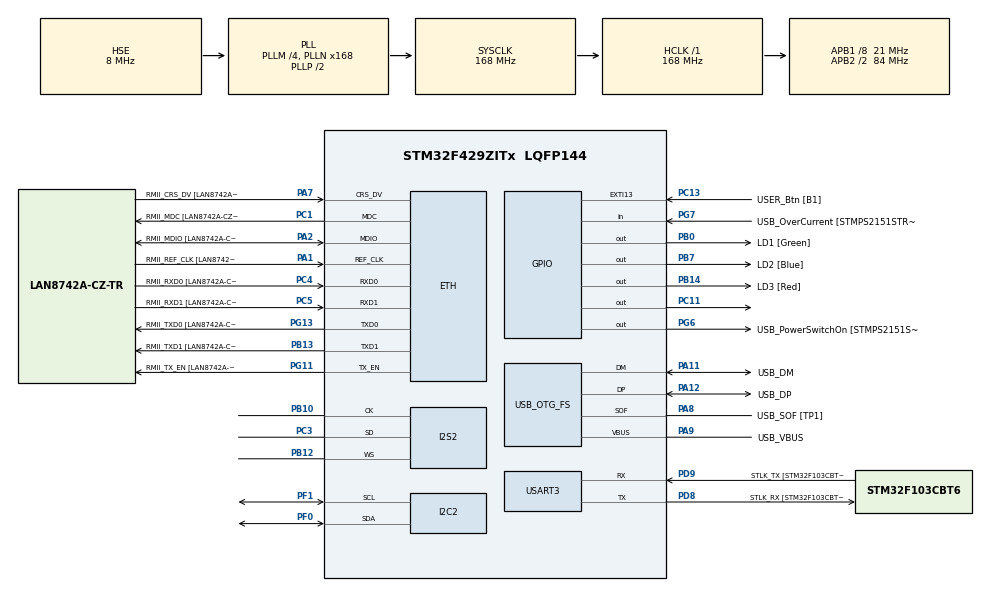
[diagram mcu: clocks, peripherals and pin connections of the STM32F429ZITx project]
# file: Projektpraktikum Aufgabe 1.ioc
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Dma.Request0=SPI2_RX
Dma.SPI2_RX.0.Direction=DMA_PERIPH_TO_MEMORY
Dma.SPI2_RX.0.FIFOMode=DMA_FIFOMODE_DISABLE
Dma.SPI2_RX.0.Instance=DMA1_Stream3
Dma.SPI2_RX.0.MemDataAlignment=DMA_MDATAALIGN_HALFWORD
Dma.SPI2_RX.0.MemInc=DMA_MINC_ENABLE
Dma.SPI2_RX.0.Mode=DMA_CIRCULAR
Dma.SPI2_RX.0.PeriphDataAlignment=DMA_PDATAALIGN_HALFWORD
Dma.SPI2_RX.0.PeriphInc=DMA_PINC_DISABLE
Dma.SPI2_RX.0.Priority=DMA_PRIORITY_HIGH
ETH.MediaInterface=HAL_ETH_RMII_MODE
ETH.PHY_Name=LAN8742A_PHY_ADDRESS
ETH.PHY_Value=0
ETH.PhyAddress=0
I2S2.AudioFreq=I2S_AUDIOFREQ_16K
I2S2.DataFormat=I2S_DATAFORMAT_24B
I2S2.ErrorAudioFreq=-0.35 %
I2S2.FullDuplexMode=I2S_FULLDUPLEXMODE_DISABLE
I2S2.Instance=SPI$Index
I2S2.Mode=I2S_MODE_MASTER_RX
I2S2.RealAudioFreq=15.943 KHz
I2S2.VirtualMode=I2S_MODE_MASTER
Mcu.Family=STM32F4
Mcu.Name=STM32F429ZITx
Mcu.Package=LQFP144
NVIC.DMA1_Stream3_IRQn=true\:0\:0\:false\:false\:true\:false\:true\:true
NVIC.PriorityGroup=NVIC_PRIORITYGROUP_4
PA1.GPIO_Label=RMII_REF_CLK [LAN8742A-CZ-TR_REFCLK0]
PA1.Mode=RMII
PA1.Signal=ETH_REF_CLK
PA10.GPIO_Label=USB_ID
PA10.Signal=USB_OTG_FS_ID
PA11.GPIO_Label=USB_DM
PA11.Mode=Device_Only
PA11.Signal=USB_OTG_FS_DM
PA12.GPIO_Label=USB_DP
PA12.Mode=Device_Only
PA12.Signal=USB_OTG_FS_DP
PA13.GPIO_Label=TMS
PA13.Mode=Serial_Wire
PA13.Signal=SYS_JTMS-SWDIO
PA14.GPIO_Label=TCK
PA14.Mode=Serial_Wire
PA14.Signal=SYS_JTCK-SWCLK
PA2.GPIO_Label=RMII_MDIO [LAN8742A-CZ-TR_MDIO]
PA2.Mode=RMII
PA2.Signal=ETH_MDIO
PA7.GPIO_Label=RMII_CRS_DV [LAN8742A-CZ-TR_CRS_DV]
PA7.Mode=RMII
PA7.Signal=ETH_CRS_DV
PA8.GPIO_Label=USB_SOF [TP1]
PA8.Mode=Activate_SOF_FS
PA8.Signal=USB_OTG_FS_SOF
PA9.GPIO_Label=USB_VBUS
PA9.Mode=Activate_VBUS
PA9.Signal=USB_OTG_FS_VBUS
PB0.GPIO_Label=LD1 [Green]
PB0.Signal=GPIO_Output
PB10.Mode=Half_Duplex_Master
PB10.Signal=I2S2_CK
PB12.Mode=Half_Duplex_Master
PB12.Signal=I2S2_WS
PB13.GPIO_Label=RMII_TXD1 [LAN8742A-CZ-TR_TXD1]
PB13.Mode=RMII
PB13.Signal=ETH_TXD1
PB14.GPIO_Label=LD3 [Red]
PB14.Signal=GPIO_Output
PB7.GPIO_Label=LD2 [Blue]
PB7.Signal=GPIO_Output
PC1.GPIO_Label=RMII_MDC [LAN8742A-CZ-TR_MDC]
PC1.Mode=RMII
PC1.Signal=ETH_MDC
PC11.Signal=GPIO_Output
PC13.GPIO_Label=USER_Btn [B1]
PC13.Signal=GPXTI13
PC14/OSC32_IN.Mode=LSE-External-Oscillator
PC14/OSC32_IN.Signal=RCC_OSC32_IN
PC15/OSC32_OUT.Mode=LSE-External-Oscillator
PC15/OSC32_OUT.Signal=RCC_OSC32_OUT
PC3.Mode=Half_Duplex_Master
PC3.Signal=I2S2_SD
PC4.GPIO_Label=RMII_RXD0 [LAN8742A-CZ-TR_RXD0]
PC4.Mode=RMII
PC4.Signal=ETH_RXD0
PC5.GPIO_Label=RMII_RXD1 [LAN8742A-CZ-TR_RXD1]
PC5.Mode=RMII
PC5.Signal=ETH_RXD1
PD8.GPIO_Label=STLK_RX [STM32F103CBT6_PA3]
PD8.Mode=Asynchronous
PD8.Signal=USART3_TX
PD9.GPIO_Label=STLK_TX [STM32F103CBT6_PA2]
PD9.Mode=Asynchronous
PD9.Signal=USART3_RX
PF0.Mode=I2C
PF0.Signal=I2C2_SDA
PF1.Mode=I2C
PF1.Signal=I2C2_SCL
PG11.GPIO_Label=RMII_TX_EN [LAN8742A-CZ-TR_TXEN]
PG11.Mode=RMII
PG11.Signal=ETH_TX_EN
PG13.GPIO_Label=RMII_TXD0 [LAN8742A-CZ-TR_TXD0]
PG13.Mode=RMII
PG13.Signal=ETH_TXD0
PG6.GPIO_Label=USB_PowerSwitchOn [STMPS2151STR_EN]
PG6.Signal=GPIO_Output
PG7.GPIO_Label=USB_OverCurrent [STMPS2151STR_FAULT]
PG7.Signal=GPIO_Input
PH0/OSC_IN.GPIO_Label=MCO [STM32F103CBT6_PA8]
PH0/OSC_IN.Mode=HSE-External-Clock-Source
PH0/OSC_IN.Signal=RCC_OSC_IN
PH1/OSC_OUT.Mode=HSE-External-Clock-Source
PH1/OSC_OUT.Signal=RCC_OSC_OUT
ProjectManager.HeapSize=0x800
ProjectManager.StackSize=0x800
ProjectManager.TargetToolchain=STM32CubeIDE
RCC.48MHZClocksFreq_Value=48000000
RCC.AHBFreq_Value=168000000
RCC.APB1CLKDivider=RCC_HCLK_DIV8
RCC.APB1Freq_Value=21000000
RCC.APB1TimFreq_Value=42000000
RCC.APB2CLKDivider=RCC_HCLK_DIV2
RCC.APB2Freq_Value=84000000
RCC.APB2TimFreq_Value=168000000
RCC.CortexFreq_Value=168000000
RCC.HCLKFreq_Value=168000000
RCC.HSE_VALUE=8000000
RCC.HSI_VALUE=16000000
RCC.PLLI2SN=50
RCC.PLLM=4
RCC.PLLMUL=RCC_PLL_MUL9
RCC.PLLN=168
RCC.PLLQ=7
RCC.PRESCALERUSB=RCC_USBCLKSOURCE_PLL_DIV1_5
RCC.SYSCLKFreq_VALUE=168000000
RCC.SYSCLKSource=RCC_SYSCLKSOURCE_PLLCLK
RCC.SYSCLKSourceVirtual=RCC_SYSCLKSOURCE_PLLCLK
RCC.USBFreq_Value=48000000
RCC.VCOOutputFreq_Value=336000000
STMicroelectronics.X-CUBE-AI.8.1.0.ActivationBufferSizeList=24988
STMicroelectronics.X-CUBE-AI.8.1.0.ActivationBuffers=pool0
STMicroelectronics.X-CUBE-AI.8.1.0.ActivationNames=pool0
STMicroelectronics.X-CUBE-AI.8.1.0.ActivationSizes=AI_NETWORK_DATA_ACTIVATION_1_SIZE
STMicroelectronics.X-CUBE-AI.8.1.0.HeapSize=0x800
STMicroelectronics.X-CUBE-AI.8.1.0.InternalRamActivationBufferMaxSize=AI_NETWORK_DATA_ACTIVATIONS_SIZE
STMicroelectronics.X-CUBE-AI.8.1.0.LatestDirectoryUsed-aed7329be207645f23a032d3b21966ea48b668a3339ffedc6012d5aefd8bd7ce=C\:\\Users\\ASUS\\Downloads
STMicroelectronics.X-CUBE-AI.8.1.0.MaximumNumberOfInputLayer=1
STMicroelectronics.X-CUBE-AI.8.1.0.MaximumNumberOfOutputLayer=1
STMicroelectronics.X-CUBE-AI.8.1.0.MaximumSizeOfInputLayer=1
STMicroelectronics.X-CUBE-AI.8.1.0.MaximumSizeOfOutputLayer=1
STMicroelectronics.X-CUBE-AI.8.1.0.ModelActualCompression-aed7329be207645f23a032d3b21966ea48b668a3339ffedc6012d5aefd8bd7ce=0.0
STMicroelectronics.X-CUBE-AI.8.1.0.ModelCompression-aed7329be207645f23a032d3b21966ea48b668a3339ffedc6012d5aefd8bd7ce=None
STMicroelectronics.X-CUBE-AI.8.1.0.ModelFlashOccupation-aed7329be207645f23a032d3b21966ea48b668a3339ffedc6012d5aefd8bd7ce=38460
STMicroelectronics.X-CUBE-AI.8.1.0.ModelHashList=aed7329be207645f23a032d3b21966ea48b668a3339ffedc6012d5aefd8bd7ce
STMicroelectronics.X-CUBE-AI.8.1.0.ModelKind-aed7329be207645f23a032d3b21966ea48b668a3339ffedc6012d5aefd8bd7ce=TFLITE
STMicroelectronics.X-CUBE-AI.8.1.0.ModelMacc-aed7329be207645f23a032d3b21966ea48b668a3339ffedc6012d5aefd8bd7ce=251990
STMicroelectronics.X-CUBE-AI.8.1.0.ModelName-aed7329be207645f23a032d3b21966ea48b668a3339ffedc6012d5aefd8bd7ce=network
STMicroelectronics.X-CUBE-AI.8.1.0.ModelNameList=network
STMicroelectronics.X-CUBE-AI.8.1.0.ModelRamOccupation-aed7329be207645f23a032d3b21966ea48b668a3339ffedc6012d5aefd8bd7ce=24988
STMicroelectronics.X-CUBE-AI.8.1.0.ModelStructureFile-aed7329be207645f23a032d3b21966ea48b668a3339ffedc6012d5aefd8bd7ce=C\:\\Users\\ASUS\\Downloads\\kws_model (1) (1).tflite
STMicroelectronics.X-CUBE-AI.8.1.0.ModelType-aed7329be207645f23a032d3b21966ea48b668a3339ffedc6012d5aefd8bd7ce=STM32Cube.AI runtime
STMicroelectronics.X-CUBE-AI.8.1.0.ReadyForCodeGeneration=true
STMicroelectronics.X-CUBE-AI.8.1.0.StackSize=0x800
STMicroelectronics.X-CUBE-AI.8.1.0.WorkingBufferStartAddrList=0xFFFFFFFF
STMicroelectronics.X-CUBE-AI.8.1.0.XAaCUBEAaAICcArtificialOoIntelligenceJjCore=true
STMicroelectronics.X-CUBE-AI.8.1.0.copyWeightToRam=false
STMicroelectronics.X-CUBE-AI.8.1.0.copyWeightToRam-aed7329be207645f23a032d3b21966ea48b668a3339ffedc6012d5aefd8bd7ce=false
STMicroelectronics.X-CUBE-AI.8.1.0.customLayerConfigEnabled=false
STMicroelectronics.X-CUBE-AI.8.1.0.customLayerConfigEnabled-aed7329be207645f23a032d3b21966ea48b668a3339ffedc6012d5aefd8bd7ce=false
STMicroelectronics.X-CUBE-AI.8.1.0.noOnnxIoTranspose=false
STMicroelectronics.X-CUBE-AI.8.1.0.noOnnxIoTranspose-aed7329be207645f23a032d3b21966ea48b668a3339ffedc6012d5aefd8bd7ce=false
STMicroelectronics.X-CUBE-AI.8.1.0.useInputAllocation=true
STMicroelectronics.X-CUBE-AI.8.1.0.useInputAllocation-aed7329be207645f23a032d3b21966ea48b668a3339ffedc6012d5aefd8bd7ce=true
STMicroelectronics.X-CUBE-AI.8.1.0.useOutputAllocation=true
STMicroelectronics.X-CUBE-AI.8.1.0.useOutputAllocation-aed7329be207645f23a032d3b21966ea48b668a3339ffedc6012d5aefd8bd7ce=true
TIM4.Prescaler=42-1
USART3.VirtualMode=VM_ASYNC
USB_OTG_FS.VirtualMode=Device_Only
VP_CRC_VS_CRC.Mode=CRC_Activate
VP_STMicroelectronics.X-CUBE-AI_VS_ArtificialOoIntelligenceJjXAaCUBEAaAI_8.1.0.Mode=ArtificialOoIntelligenceJjXAaCUBEAaAI
VP_TIM4_VS_ClockSourceINT.Mode=Internal
board=NUCLEO-F429ZI

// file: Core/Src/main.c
/* USER CODE BEGIN Header */
/**
  ******************************************************************************
  * @file           : main.c
  * @brief          : Main program body
  ******************************************************************************
  * @attention
  *
  * Copyright (c) 2023 STMicroelectronics.
  * All rights reserved.
  *
  * This software is licensed under terms that can be found in the LICENSE file
  * in the root directory of this software component.
  * If no LICENSE file comes with this software, it is provided AS-IS.
  *
  ******************************************************************************
  */
/* USER CODE END Header */
#include "main.h"
#include "string.h"

/* USER CODE BEGIN Includes */
#include "my_main.h"
/* USER CODE END Includes */

ETH_TxPacketConfig TxConfig;
ETH_DMADescTypeDef  DMARxDscrTab[ETH_RX_DESC_CNT]; /* Ethernet Rx DMA Descriptors */
ETH_DMADescTypeDef  DMATxDscrTab[ETH_TX_DESC_CNT]; /* Ethernet Tx DMA Descriptors */

CRC_HandleTypeDef hcrc;

ETH_HandleTypeDef heth;

I2C_HandleTypeDef hi2c2;

I2S_HandleTypeDef hi2s2;
DMA_HandleTypeDef hdma_spi2_rx;

TIM_HandleTypeDef htim4;

UART_HandleTypeDef huart3;

PCD_HandleTypeDef hpcd_USB_OTG_FS;

void SystemClock_Config(void);
static void MX_GPIO_Init(void);
static void MX_DMA_Init(void);
static void MX_ETH_Init(void);
static void MX_USART3_UART_Init(void);
static void MX_USB_OTG_FS_PCD_Init(void);
static void MX_I2S2_Init(void);
static void MX_TIM4_Init(void);
static void MX_CRC_Init(void);
static void MX_I2C2_Init(void);

int main(void)
{

  /* MCU Configuration--------------------------------------------------------*/

  /* Reset of all peripherals, Initializes the Flash interface and the Systick. */
  HAL_Init();

  /* Configure the system clock */
  SystemClock_Config();

  /* Initialize all configured peripherals */
  MX_GPIO_Init();
  MX_DMA_Init();
  MX_ETH_Init();
  MX_USART3_UART_Init();
  MX_USB_OTG_FS_PCD_Init();
  MX_I2S2_Init();
  MX_TIM4_Init();
  MX_CRC_Init();
  MX_I2C2_Init();

  /* Infinite loop */
  /* USER CODE BEGIN WHILE */
  my_main(&hi2s2,&htim4,&hi2c2);
  /*
  	lcddev1->i2c_addr = LCD_DEFAULT_ADDR;
  	//lcddev1->backlight_enable = 1;
  	lcddev1->i2c = &hi2c2;
  	LCD_Begin(lcddev1);
  	LCD_Clear(lcddev1);
  		LCD_SetCursor(lcddev1, 0, 0);
  	    LCD_Print(lcddev1, "Test");*/
    /* USER CODE END WHILE */

}

void SystemClock_Config(void)
{
  RCC_OscInitTypeDef RCC_OscInitStruct = {0};
  RCC_ClkInitTypeDef RCC_ClkInitStruct = {0};

  /** Configure the main internal regulator output voltage
  */
  __HAL_RCC_PWR_CLK_ENABLE();
  __HAL_PWR_VOLTAGESCALING_CONFIG(PWR_REGULATOR_VOLTAGE_SCALE1);

  /** Initializes the RCC Oscillators according to the specified parameters
  * in the RCC_OscInitTypeDef structure.
  */
  RCC_OscInitStruct.OscillatorType = RCC_OSCILLATORTYPE_HSE;
  RCC_OscInitStruct.HSEState = RCC_HSE_BYPASS;
  RCC_OscInitStruct.PLL.PLLState = RCC_PLL_ON;
  RCC_OscInitStruct.PLL.PLLSource = RCC_PLLSOURCE_HSE;
  RCC_OscInitStruct.PLL.PLLM = 4;
  RCC_OscInitStruct.PLL.PLLN = 168;
  RCC_OscInitStruct.PLL.PLLP = RCC_PLLP_DIV2;
  RCC_OscInitStruct.PLL.PLLQ = 7;
  if (HAL_RCC_OscConfig(&RCC_OscInitStruct) != HAL_OK)
  {
    Error_Handler();
  }

  /** Initializes the CPU, AHB and APB buses clocks
  */
  RCC_ClkInitStruct.ClockType = RCC_CLOCKTYPE_HCLK|RCC_CLOCKTYPE_SYSCLK
                              |RCC_CLOCKTYPE_PCLK1|RCC_CLOCKTYPE_PCLK2;
  RCC_ClkInitStruct.SYSCLKSource = RCC_SYSCLKSOURCE_PLLCLK;
  RCC_ClkInitStruct.AHBCLKDivider = RCC_SYSCLK_DIV1;
  RCC_ClkInitStruct.APB1CLKDivider = RCC_HCLK_DIV8;
  RCC_ClkInitStruct.APB2CLKDivider = RCC_HCLK_DIV2;

  if (HAL_RCC_ClockConfig(&RCC_ClkInitStruct, FLASH_LATENCY_5) != HAL_OK)
  {
    Error_Handler();
  }
}

static void MX_CRC_Init(void)
{

  hcrc.Instance = CRC;
  if (HAL_CRC_Init(&hcrc) != HAL_OK)
  {
    Error_Handler();
  }

}

static void MX_ETH_Init(void)
{

   static uint8_t MACAddr[6];

  heth.Instance = ETH;
  MACAddr[0] = 0x00;
  MACAddr[1] = 0x80;
  MACAddr[2] = 0xE1;
  MACAddr[3] = 0x00;
  MACAddr[4] = 0x00;
  MACAddr[5] = 0x00;
  heth.Init.MACAddr = &MACAddr[0];
  heth.Init.MediaInterface = HAL_ETH_RMII_MODE;
  heth.Init.TxDesc = DMATxDscrTab;
  heth.Init.RxDesc = DMARxDscrTab;
  heth.Init.RxBuffLen = 1524;

  if (HAL_ETH_Init(&heth) != HAL_OK)
  {
    Error_Handler();
  }

  memset(&TxConfig, 0 , sizeof(ETH_TxPacketConfig));
  TxConfig.Attributes = ETH_TX_PACKETS_FEATURES_CSUM | ETH_TX_PACKETS_FEATURES_CRCPAD;
  TxConfig.ChecksumCtrl = ETH_CHECKSUM_IPHDR_PAYLOAD_INSERT_PHDR_CALC;
  TxConfig.CRCPadCtrl = ETH_CRC_PAD_INSERT;

}

static void MX_I2C2_Init(void)
{

  hi2c2.Instance = I2C2;
  hi2c2.Init.ClockSpeed = 100000;
  hi2c2.Init.DutyCycle = I2C_DUTYCYCLE_2;
  hi2c2.Init.OwnAddress1 = 0;
  hi2c2.Init.AddressingMode = I2C_ADDRESSINGMODE_7BIT;
  hi2c2.Init.DualAddressMode = I2C_DUALADDRESS_DISABLE;
  hi2c2.Init.OwnAddress2 = 0;
  hi2c2.Init.GeneralCallMode = I2C_GENERALCALL_DISABLE;
  hi2c2.Init.NoStretchMode = I2C_NOSTRETCH_DISABLE;
  if (HAL_I2C_Init(&hi2c2) != HAL_OK)
  {
    Error_Handler();
  }

  /** Configure Analogue filter
  */
  if (HAL_I2CEx_ConfigAnalogFilter(&hi2c2, I2C_ANALOGFILTER_ENABLE) != HAL_OK)
  {
    Error_Handler();
  }

  /** Configure Digital filter
  */
  if (HAL_I2CEx_ConfigDigitalFilter(&hi2c2, 0) != HAL_OK)
  {
    Error_Handler();
  }

}

static void MX_I2S2_Init(void)
{

  hi2s2.Instance = SPI2;
  hi2s2.Init.Mode = I2S_MODE_MASTER_RX;
  hi2s2.Init.Standard = I2S_STANDARD_PHILIPS;
  hi2s2.Init.DataFormat = I2S_DATAFORMAT_24B;
  hi2s2.Init.MCLKOutput = I2S_MCLKOUTPUT_DISABLE;
  hi2s2.Init.AudioFreq = I2S_AUDIOFREQ_16K;
  hi2s2.Init.CPOL = I2S_CPOL_LOW;
  hi2s2.Init.ClockSource = I2S_CLOCK_PLL;
  hi2s2.Init.FullDuplexMode = I2S_FULLDUPLEXMODE_DISABLE;
  if (HAL_I2S_Init(&hi2s2) != HAL_OK)
  {
    Error_Handler();
  }

}

static void MX_TIM4_Init(void)
{

  TIM_ClockConfigTypeDef sClockSourceConfig = {0};
  TIM_MasterConfigTypeDef sMasterConfig = {0};

  htim4.Instance = TIM4;
  htim4.Init.Prescaler = 42-1;
  htim4.Init.CounterMode = TIM_COUNTERMODE_UP;
  htim4.Init.Period = 65535;
  htim4.Init.ClockDivision = TIM_CLOCKDIVISION_DIV1;
  htim4.Init.AutoReloadPreload = TIM_AUTORELOAD_PRELOAD_DISABLE;
  if (HAL_TIM_Base_Init(&htim4) != HAL_OK)
  {
    Error_Handler();
  }
  sClockSourceConfig.ClockSource = TIM_CLOCKSOURCE_INTERNAL;
  if (HAL_TIM_ConfigClockSource(&htim4, &sClockSourceConfig) != HAL_OK)
  {
    Error_Handler();
  }
  sMasterConfig.MasterOutputTrigger = TIM_TRGO_RESET;
  sMasterConfig.MasterSlaveMode = TIM_MASTERSLAVEMODE_DISABLE;
  if (HAL_TIMEx_MasterConfigSynchronization(&htim4, &sMasterConfig) != HAL_OK)
  {
    Error_Handler();
  }

}

static void MX_USART3_UART_Init(void)
{

  huart3.Instance = USART3;
  huart3.Init.BaudRate = 115200;
  huart3.Init.WordLength = UART_WORDLENGTH_8B;
  huart3.Init.StopBits = UART_STOPBITS_1;
  huart3.Init.Parity = UART_PARITY_NONE;
  huart3.Init.Mode = UART_MODE_TX_RX;
  huart3.Init.HwFlowCtl = UART_HWCONTROL_NONE;
  huart3.Init.OverSampling = UART_OVERSAMPLING_16;
  if (HAL_UART_Init(&huart3) != HAL_OK)
  {
    Error_Handler();
  }

}

static void MX_USB_OTG_FS_PCD_Init(void)
{

  hpcd_USB_OTG_FS.Instance = USB_OTG_FS;
  hpcd_USB_OTG_FS.Init.dev_endpoints = 4;
  hpcd_USB_OTG_FS.Init.speed = PCD_SPEED_FULL;
  hpcd_USB_OTG_FS.Init.dma_enable = DISABLE;
  hpcd_USB_OTG_FS.Init.phy_itface = PCD_PHY_EMBEDDED;
  hpcd_USB_OTG_FS.Init.Sof_enable = ENABLE;
  hpcd_USB_OTG_FS.Init.low_power_enable = DISABLE;
  hpcd_USB_OTG_FS.Init.lpm_enable = DISABLE;
  hpcd_USB_OTG_FS.Init.vbus_sensing_enable = ENABLE;
  hpcd_USB_OTG_FS.Init.use_dedicated_ep1 = DISABLE;
  if (HAL_PCD_Init(&hpcd_USB_OTG_FS) != HAL_OK)
  {
    Error_Handler();
  }

}

static void MX_DMA_Init(void)
{

  /* DMA controller clock enable */
  __HAL_RCC_DMA1_CLK_ENABLE();

  /* DMA interrupt init */
  /* DMA1_Stream3_IRQn interrupt configuration */
  HAL_NVIC_SetPriority(DMA1_Stream3_IRQn, 0, 0);
  HAL_NVIC_EnableIRQ(DMA1_Stream3_IRQn);

}

static void MX_GPIO_Init(void)
{
  GPIO_InitTypeDef GPIO_InitStruct = {0};

  /* GPIO Ports Clock Enable */
  __HAL_RCC_GPIOC_CLK_ENABLE();
  __HAL_RCC_GPIOF_CLK_ENABLE();
  __HAL_RCC_GPIOH_CLK_ENABLE();
  __HAL_RCC_GPIOA_CLK_ENABLE();
  __HAL_RCC_GPIOB_CLK_ENABLE();
  __HAL_RCC_GPIOD_CLK_ENABLE();
  __HAL_RCC_GPIOG_CLK_ENABLE();

  /*Configure GPIO pin Output Level */
  HAL_GPIO_WritePin(GPIOB, LD1_Pin|LD3_Pin|LD2_Pin, GPIO_PIN_RESET);

  /*Configure GPIO pin Output Level */
  HAL_GPIO_WritePin(USB_PowerSwitchOn_GPIO_Port, USB_PowerSwitchOn_Pin, GPIO_PIN_RESET);

  /*Configure GPIO pin Output Level */
  HAL_GPIO_WritePin(GPIOC, GPIO_PIN_11, GPIO_PIN_RESET);

  /*Configure GPIO pin : USER_Btn_Pin */
  GPIO_InitStruct.Pin = USER_Btn_Pin;
  GPIO_InitStruct.Mode = GPIO_MODE_IT_RISING;
  GPIO_InitStruct.Pull = GPIO_NOPULL;
  HAL_GPIO_Init(USER_Btn_GPIO_Port, &GPIO_InitStruct);

  /*Configure GPIO pins : LD1_Pin LD3_Pin LD2_Pin */
  GPIO_InitStruct.Pin = LD1_Pin|LD3_Pin|LD2_Pin;
  GPIO_InitStruct.Mode = GPIO_MODE_OUTPUT_PP;
  GPIO_InitStruct.Pull = GPIO_NOPULL;
  GPIO_InitStruct.Speed = GPIO_SPEED_FREQ_LOW;
  HAL_GPIO_Init(GPIOB, &GPIO_InitStruct);

  /*Configure GPIO pin : USB_PowerSwitchOn_Pin */
  GPIO_InitStruct.Pin = USB_PowerSwitchOn_Pin;
  GPIO_InitStruct.Mode = GPIO_MODE_OUTPUT_PP;
  GPIO_InitStruct.Pull = GPIO_NOPULL;
  GPIO_InitStruct.Speed = GPIO_SPEED_FREQ_LOW;
  HAL_GPIO_Init(USB_PowerSwitchOn_GPIO_Port, &GPIO_InitStruct);

  /*Configure GPIO pin : USB_OverCurrent_Pin */
  GPIO_InitStruct.Pin = USB_OverCurrent_Pin;
  GPIO_InitStruct.Mode = GPIO_MODE_INPUT;
  GPIO_InitStruct.Pull = GPIO_NOPULL;
  HAL_GPIO_Init(USB_OverCurrent_GPIO_Port, &GPIO_InitStruct);

  /*Configure GPIO pin : PC11 */
  GPIO_InitStruct.Pin = GPIO_PIN_11;
  GPIO_InitStruct.Mode = GPIO_MODE_OUTPUT_PP;
  GPIO_InitStruct.Pull = GPIO_NOPULL;
  GPIO_InitStruct.Speed = GPIO_SPEED_FREQ_LOW;
  HAL_GPIO_Init(GPIOC, &GPIO_InitStruct);

}

/* USER CODE BEGIN 4 */
int _close() {}
int _fstat() {}
int _getpid() {}
int _isatty() {}
int _kill() {}
int _lseek() {}
int _read() {}

int __io_putchar(int ch)
{
uint8_t c[1];
c[0] = ch & 0x00FF;
HAL_UART_Transmit(&huart3, &*c, 1, 10);
return ch;
}

int _write(int file, char *ptr, int len)
{
int DataIdx;
for(DataIdx = 0; DataIdx < len; DataIdx++)
{
__io_putchar(*ptr++);
}
return len;
}

/* USER CODE END 4 */

void Error_Handler(void)
{
  __disable_irq();
  while (1)
  {
  }
}
